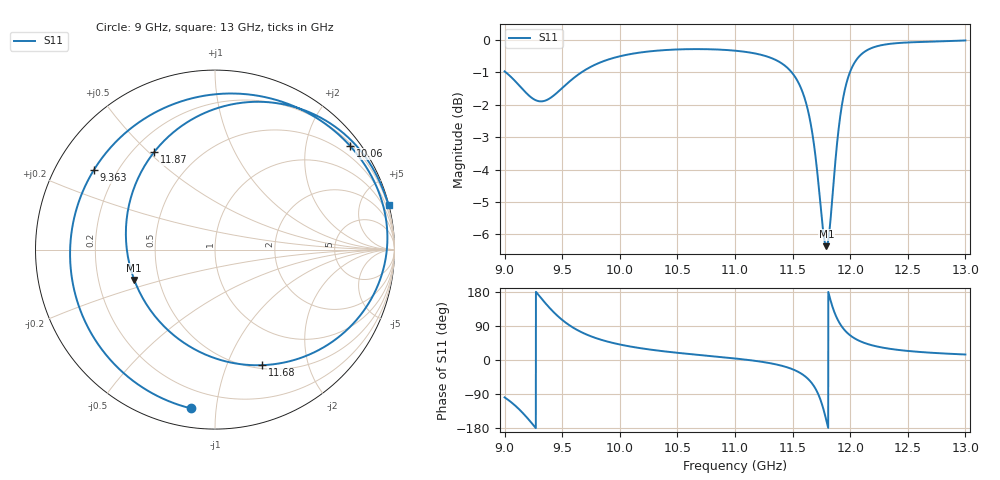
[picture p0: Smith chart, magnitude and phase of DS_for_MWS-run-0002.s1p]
! TOUCHSTONE file generated by CST DESIGN STUDIO
! Date and time: Tue Feb  4 16:15:18 2025
! Project name: C:\Work\MatlabApps\UnitCellOptimizationMatlab\CST\unitcell.cst
! Tree item: Tasks\Sweep1\SPara1\S-Parameters
! Header version: 2024
! Port assignment regex: !\s*Touchstone port\s*([0-9]+)\s*=\s*(CST MWS port|CST DES external port|CST DES block port)\s*(.+)\s* \(\"(.*)\"\)(\s*mode\s*([0-9]+))?.*
! Touchstone port assignment:
! Touchstone port 1 = CST DES external port 1 ("")
# GHz S MA R 50
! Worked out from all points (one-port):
!   4001 points, 9 GHz to 13 GHz, reference 50 ohm
!   lowest |S11| = -6.4 dB at 11.79 GHz (marker M1), VSWR 2.85, Z = 18.1 - j7.94 ohm
!   |S11| at or under -10 dB: nowhere
!   S11 on the Smith chart (normalised r, x): 9 GHz: 0.10, -0.86; 9.363 GHz: 0.12, +0.29; 10.06 GHz: 0.25, +2.92; 11.68 GHz: 0.54, -1.34; 11.87 GHz: 0.28, +0.52; 13 GHz: 0.04, +7.85
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9  0.8947 -98.6
9.11  0.8574 -125.4
9.218  0.819 -160.3
9.289  0.8052 173.6
9.363  0.8076 146.8
9.43  0.8221 125.0
9.5  0.8432 105.8
9.596  0.8727 85.2
9.725  0.9047 65.5
9.851  0.9266 52.2
10  0.944 40.9
10.056  0.9488 37.5
10.5  0.9672 19.0
11  0.963 4.1
11.318  0.9377 -9.2
11.5  0.8881 -24.4
11.603  0.815 -41.8
11.683  0.695 -67.9
11.74  0.5617 -103.3
11.793  0.4805 -159.4
11.829  0.5273 157.8
11.868  0.6399 122.1
11.924  0.7855 89.7
12  0.894 65.0
12.077  0.9431 50.8
12.176  0.9705 39.9
12.5  0.9916 23.9
13  0.9987 14.5
